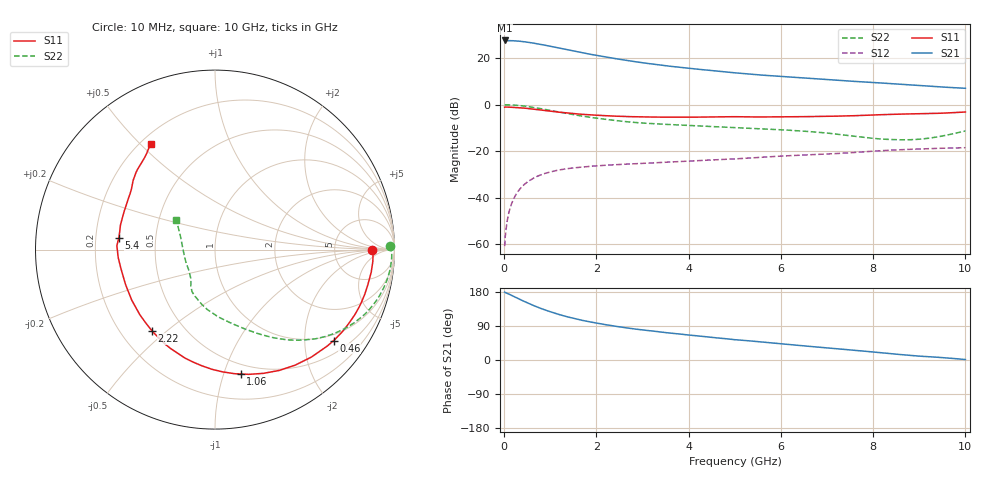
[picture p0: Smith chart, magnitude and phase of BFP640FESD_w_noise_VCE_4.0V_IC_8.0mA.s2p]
! Infineon Technologies  Discrete & RF Semiconductors
! BFP640FESD
! VCE =  4.0 V,  IC =  8.0 mA
! Common Emitter S-Parameters:  Jan 2016
# GHz  S  MA  R  50
!  f  S11  S21  S12  S22
! GHz  MAG  ANG  MAG  ANG  MAG  ANG  MAG  ANG
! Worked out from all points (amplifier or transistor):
!   233 points, 10 MHz to 10 GHz, reference 50 ohm
!   highest |S21| = 27.5 dB at 10 MHz (marker M1)
!   |S21| within 3 dB of that: start of sweep to 1.127 GHz
!   unconditionally stable (mu >= 1): start of sweep to 13.95 MHz; 5.292 GHz to end of sweep
!   at 200 MHz: K = 0.12, MSG = 34.1 dB, |S12| = -40.8 dB
!   at 1.74 GHz: K = 0.42, MSG = 24.4 dB, |S12| = -26.8 dB
!   at 10 GHz: K = 1.14, MAG = 10.5 dB, |S12| = -18.6 dB
!   lowest NFmin = 0.62 dB at 450 MHz
!   S11 on the Smith chart (normalised r, x): 10 MHz: 15, +0; 460 MHz: 0.82, -2.72; 1.06 GHz: 0.41, -1.14; 2.22 GHz: 0.33, -0.45; 5.4 GHz: 0.30, +0.05; 10 GHz: 0.24, +0.54
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0.01  0.875 0.0  23.83 179.2  0.0009 -0.1  0.9758 1.2
0.08  0.88 -6.5  23.58 175.2  0.0038 73.5  0.9845 -3.8
0.2  0.8708 -16.6  23.48 168.2  0.0091 76.2  0.974 -9.8
0.34  0.8528 -28.1  22.89 160.0  0.0152 72.5  0.9486 -16.4
0.46  0.8327 -37.5  22.17 153.1  0.02 68.5  0.9192 -21.7
0.6  0.8045 -48.1  21.18 145.5  0.0249 63.9  0.8777 -27.6
0.7  0.7833 -55.3  20.39 140.6  0.0281 60.9  0.846 -31.4
0.9  0.7405 -68.6  18.72 131.5  0.0334 55.3  0.7809 -38.4
1.06  0.7079 -78.3  17.39 125.0  0.0368 51.6  0.7287 -43.4
1.22  0.6794 -87.3  16.15 119.0  0.0396 48.4  0.6803 -47.9
1.4  0.651 -96.6  14.83 113.0  0.0421 45.4  0.6305 -52.5
1.68  0.6164 -108.9  13.07 105.1  0.0452 42.0  0.5662 -58.6
1.9  0.5969 -117.3  11.87 99.7  0.0472 40.1  0.5248 -63.1
2.22  0.5732 -127.7  10.42 92.7  0.0495 38.1  0.4772 -68.7
2.8  0.5462 -144.1  8.432 82.3  0.053 36.1  0.4137 -78.7
3.4  0.5352 -156.8  7.016 73.8  0.0564 35.6  0.3789 -86.3
4  0.5343 -167.2  6.008 65.9  0.0604 35.9  0.3554 -91.8
5.1  0.5451 176.7  4.708 52.7  0.0686 35.8  0.3148 -103.3
5.4  0.5403 173.3  4.434 49.6  0.0715 36.5  0.3068 -105.3
6.8  0.5531 153.8  3.547 34.1  0.0844 33.9  0.253 -121.4
8.4  0.6145 135.8  2.805 16.5  0.1046 30.2  0.1765 -156.0
10  0.6899 121.3  2.232 1.2  0.1179 21.9  0.2698 143.0
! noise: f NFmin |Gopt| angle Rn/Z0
0.45  0.62  0.3  5  0.11
2.4  0.72  0.16  61  0.1
5.5  0.97  0.33  156  0.07
10  1.69  0.47  -119  0.24
